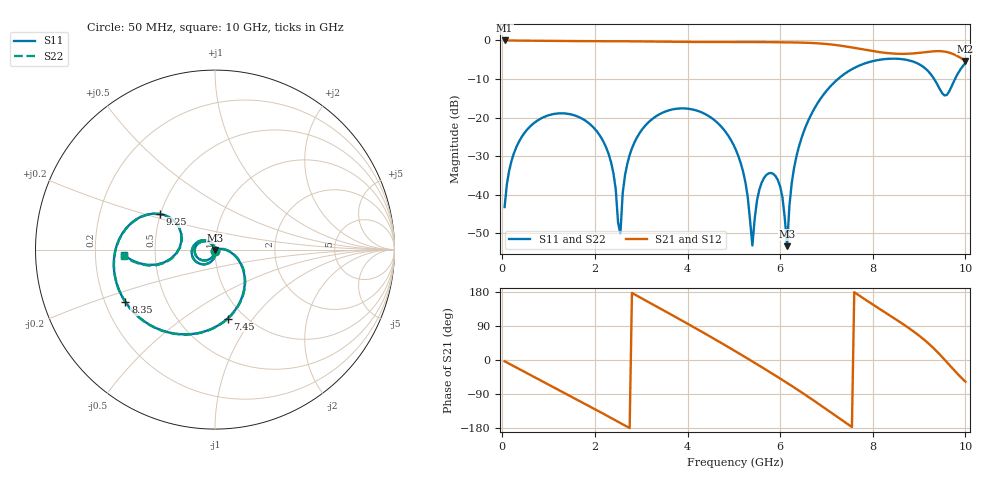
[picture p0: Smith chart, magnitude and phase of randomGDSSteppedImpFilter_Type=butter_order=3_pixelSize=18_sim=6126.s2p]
! freq	dB(S11)	phase(S11)	dB(S12)	phase(S12)
!  dB(S21)	phase(S21)	dB(S22)	phase(S22)
!S-par simulation data
#  GHz  S  DB  R 50
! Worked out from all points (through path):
!   200 points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, 50 MHz to 10 GHz, reference 50 ohm
!   highest |S21| = -0.01 dB at 50 MHz (marker M1); lowest = -5.3 dB at 10 GHz (marker M2)
!   group delay of S21, straight-line fit = 208 ps
!   lowest |S11| = -53.3 dB at 6.15 GHz (marker M3), VSWR 1.00, Z = 50.1 - j0.161 ohm
!   |S11| at or under -10 dB: start of sweep to 7.248 GHz; 9.325 GHz to 9.777 GHz (452.1 MHz wide, 4.73 % of centre)
!   |S22| runs from -57.8 to -4.7 dB; largest |S21 - S12| = 0
!   S11 on the Smith chart (normalised r, x): 50 MHz: 1.00, -0.01; 7.45 GHz: 0.84, -0.76; 8.35 GHz: 0.29, -0.25; 9.25 GHz: 0.49, +0.23; 10 GHz: 0.33, -0.03
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0.05  -43.20 -92.3  -0.01 -3.3  -0.01 -3.3  -43.20 -92.3
0.55  -22.93 -125.7  -0.07 -35.8  -0.07 -35.8  -22.93 -125.7
1.75  -20.46 156.0  -0.18 -113.4  -0.18 -113.4  -20.46 156.0
2.3  -29.59 120.0  -0.19 -149.6  -0.19 -149.6  -29.59 120.1
2.55  -50.06 -91.4  -0.20 -166.3  -0.20 -166.3  -50.03 -92.2
2.75  -29.72 -90.1  -0.23 -179.7  -0.23 -179.7  -29.71 -90.3
3.4  -19.09 -133.4  -0.33 136.6  -0.33 136.6  -19.09 -133.5
4.2  -18.19 173.0  -0.40 82.1  -0.40 82.1  -18.19 172.9
5.05  -28.54 116.0  -0.38 21.9  -0.38 21.9  -28.53 115.8
5.4  -53.17 -175.7  -0.40 -3.8  -0.40 -3.8  -52.73 -176.8
5.55  -38.70 -111.7  -0.42 -14.9  -0.42 -14.9  -38.71 -113.0
5.85  -34.56 -127.4  -0.45 -37.5  -0.45 -37.5  -34.59 -129.2
6.05  -40.69 -135.1  -0.48 -52.8  -0.48 -52.8  -40.83 -140.4
6.15  -53.33 -48.0  -0.49 -60.5  -0.49 -60.5  -57.82 -37.8
6.2  -42.88 7.4  -0.50 -64.5  -0.50 -64.5  -43.10 16.0
6.3  -33.08 10.0  -0.52 -72.3  -0.52 -72.3  -33.10 13.2
6.7  -18.51 -17.8  -0.67 -104.9  -0.67 -104.9  -18.51 -16.8
7.45  -8.18 -79.7  -1.62 -168.5  -1.62 -168.5  -8.17 -79.2
8.35  -4.76 -149.7  -3.32 119.0  -3.32 119.0  -4.76 -149.3
9.25  -8.72 147.1  -2.89 38.4  -2.89 38.4  -8.73 147.3
9.6  -14.11 176.4  -3.00 -5.7  -3.00 -5.7  -14.17 176.9
10  -5.90 -176.4  -5.31 -57.2  -5.31 -57.2  -5.91 -175.8
